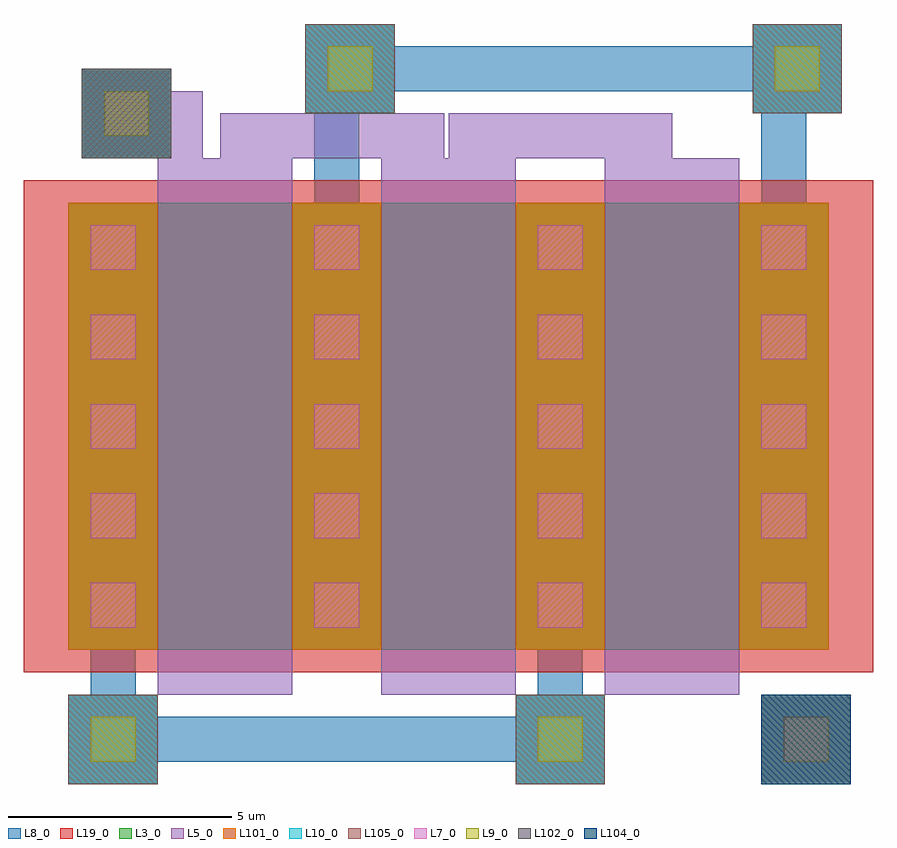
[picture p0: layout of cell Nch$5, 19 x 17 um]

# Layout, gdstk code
import gdstk
lib = gdstk.Library(unit=1e-6, precision=1e-09)
def R(c, l, rs):  # rectangles x0, y0, x1, y1
    for r in rs: c.add(gdstk.rectangle(r[:2], r[2:], *l))
L3_0 = (3, 0)
L5_0 = (5, 0)
L7_0 = (7, 0)
L8_0 = (8, 0)
L9_0 = (9, 0)
L10_0 = (10, 0)
L19_0 = (19, 0)
L101_0 = (101, 0)
L102_0 = (102, 0)
L104_0 = (104, 0)
L105_0 = (105, 0)

dcont_1 = lib.new_cell('dcont$1')
R(dcont_1, L3_0, [(-0.5,-0.5,0.5,0.5)])
R(dcont_1, L7_0, [(-0.5,-0.5,0.5,0.5)])
R(dcont_1, L8_0, [(-1,-1,1,1)])
R(dcont_1, L101_0, [(-1,-1,1,1)])
dcont_1.add(gdstk.Label('dcont', (0,0), layer=13, texttype=0))

pcont_1 = lib.new_cell('pcont$1')
R(pcont_1, L5_0, [(-1,-1,1,1)])
R(pcont_1, L7_0, [(-0.5,-0.5,0.5,0.5)])
R(pcont_1, L8_0, [(-1,-1,1,1)])
R(pcont_1, L102_0, [(-1,-1,1,1)])
pcont_1.add(gdstk.Label('pcont', (0,0), layer=13, texttype=0))

via_1 = lib.new_cell('Via$1')
R(via_1, L8_0, [(-1,-1,1,1)])
R(via_1, L9_0, [(-0.5,-0.5,0.5,0.5)])
R(via_1, L10_0, [(-1,-1,1,1)])
R(via_1, L105_0, [(-1,-1,1,1)])
via_1.add(gdstk.Label('via', (0,0), layer=13, texttype=0))

dcont_2 = lib.new_cell('dcont$2')
R(dcont_2, L3_0, [(-0.5,-0.5,0.5,0.5)])
R(dcont_2, L7_0, [(-0.5,-0.5,0.5,0.5)])
R(dcont_2, L8_0, [(-1,-1,1,1)])
R(dcont_2, L101_0, [(-1,-1,1,1)])
dcont_2.add(gdstk.Label('dcont', (0,0), layer=13, texttype=0))

psubcont_1 = lib.new_cell('psubcont$1')
R(psubcont_1, L104_0, [(-1,-1,1,1)])
psubcont_1.add(gdstk.Reference(dcont_2, (0,0)))
psubcont_1.add(gdstk.Label('PScon', (0,0), layer=13, texttype=0))

nch_5 = lib.new_cell('Nch$5')
R(nch_5, L3_0, [(0,3,17,13)])
R(nch_5, L19_0, [(-1,2.5,18,13.5)])
nch_5.add(gdstk.FlexPath([(1,3),(1,13)], 2, ends="flush", simple_path=True, layer=8, datatype=0))  # L8_0
nch_5.add(gdstk.FlexPath([(6,3),(6,13)], 2, ends="flush", simple_path=True, layer=8, datatype=0))  # L8_0
nch_5.add(gdstk.FlexPath([(11,3),(11,13)], 2, ends="flush", simple_path=True, layer=8, datatype=0))  # L8_0
nch_5.add(gdstk.FlexPath([(16,3),(16,13)], 2, ends="flush", simple_path=True, layer=8, datatype=0))  # L8_0
nch_5.add(gdstk.FlexPath([(1,1),(1,3)], 1, ends="flush", simple_path=True, layer=8, datatype=0))  # L8_0
nch_5.add(gdstk.FlexPath([(6,13),(6,16)], 1, ends="flush", simple_path=True, layer=8, datatype=0))  # L8_0
nch_5.add(gdstk.FlexPath([(11,1),(11,3)], 1, ends="flush", simple_path=True, layer=8, datatype=0))  # L8_0
nch_5.add(gdstk.FlexPath([(1,1),(11,1)], 1, ends="flush", simple_path=True, layer=8, datatype=0))  # L8_0
nch_5.add(gdstk.FlexPath([(16,13),(16,16)], 1, ends="flush", simple_path=True, layer=8, datatype=0))  # L8_0
nch_5.add(gdstk.FlexPath([(6,16),(16,16)], 1, ends="flush", simple_path=True, layer=8, datatype=0))  # L8_0
nch_5.add(gdstk.FlexPath([(3.5,3),(3.5,13)], 3, ends=(1, 1), simple_path=True, layer=5, datatype=0))  # L5_0
nch_5.add(gdstk.FlexPath([(8.5,3),(8.5,13)], 3, ends=(1, 1), simple_path=True, layer=5, datatype=0))  # L5_0
nch_5.add(gdstk.FlexPath([(13.5,3),(13.5,13)], 3, ends=(1, 1), simple_path=True, layer=5, datatype=0))  # L5_0
nch_5.add(gdstk.FlexPath([(1,15),(2.5,15),(2.5,14)], 1, ends="flush", simple_path=True, layer=5, datatype=0))  # L5_0
nch_5.add(gdstk.FlexPath([(3.4,14.5),(8.4,14.5)], 1, ends="flush", simple_path=True, layer=5, datatype=0))  # L5_0
nch_5.add(gdstk.FlexPath([(8.5,14.5),(13.5,14.5)], 1, ends="flush", simple_path=True, layer=5, datatype=0))  # L5_0
nch_5.add(gdstk.Reference(dcont_1, (1,4)))
nch_5.add(gdstk.Reference(dcont_1, (1,6)))
nch_5.add(gdstk.Reference(dcont_1, (1,8)))
nch_5.add(gdstk.Reference(dcont_1, (1,10)))
nch_5.add(gdstk.Reference(dcont_1, (1,12)))
nch_5.add(gdstk.Reference(dcont_1, (6,4)))
nch_5.add(gdstk.Reference(dcont_1, (6,6)))
nch_5.add(gdstk.Reference(dcont_1, (6,8)))
nch_5.add(gdstk.Reference(dcont_1, (6,10)))
nch_5.add(gdstk.Reference(dcont_1, (6,12)))
nch_5.add(gdstk.Reference(dcont_1, (11,4)))
nch_5.add(gdstk.Reference(dcont_1, (11,6)))
nch_5.add(gdstk.Reference(dcont_1, (11,8)))
nch_5.add(gdstk.Reference(dcont_1, (11,10)))
nch_5.add(gdstk.Reference(dcont_1, (11,12)))
nch_5.add(gdstk.Reference(dcont_1, (16,4)))
nch_5.add(gdstk.Reference(dcont_1, (16,6)))
nch_5.add(gdstk.Reference(dcont_1, (16,8)))
nch_5.add(gdstk.Reference(dcont_1, (16,10)))
nch_5.add(gdstk.Reference(dcont_1, (16,12)))
nch_5.add(gdstk.Reference(pcont_1, (1.3,15)))
nch_5.add(gdstk.Reference(via_1, (1.3,15)))
nch_5.add(gdstk.Reference(via_1, (1,1)))
nch_5.add(gdstk.Reference(via_1, (6.3,16)))
nch_5.add(gdstk.Reference(via_1, (11,1)))
nch_5.add(gdstk.Reference(via_1, (16.3,16)))
nch_5.add(gdstk.Reference(psubcont_1, (16.5,1)))
nch_5.add(gdstk.Reference(via_1, (16.5,1)))

lib.write_gds('Nch_5.gds')
